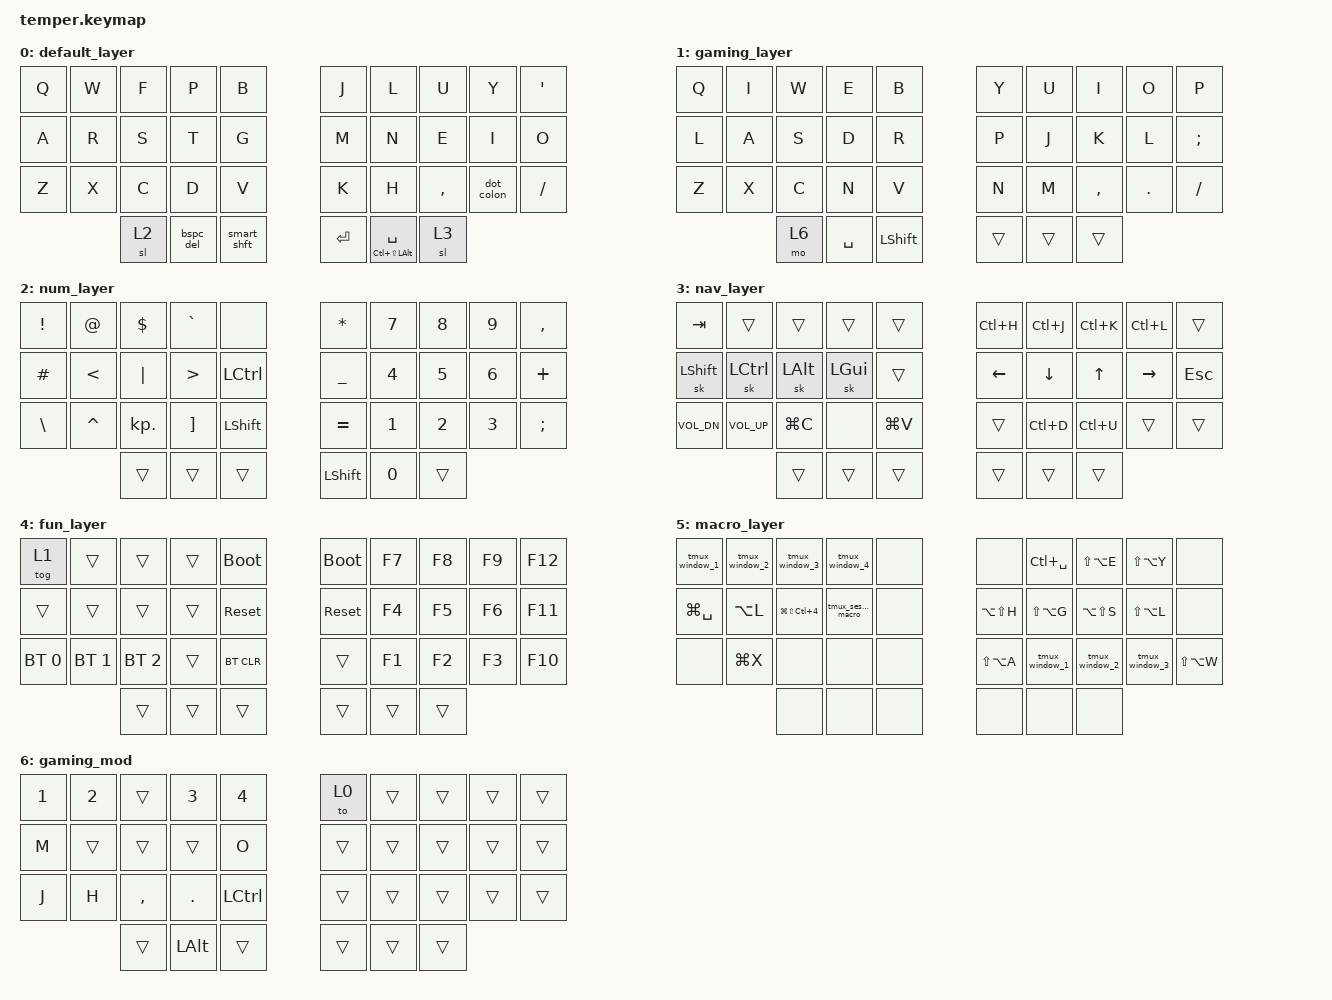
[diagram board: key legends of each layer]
/*
 * Copyright (c) 2020 The ZMK Contributors
 *
 * SPDX-License-Identifier: MIT
 */

#include <behaviors.dtsi>
#include <dt-bindings/zmk/bt.h>
#include <dt-bindings/zmk/keys.h>

#define DEFAULT 0
#define QWERTY 1
#define NUM 2
#define NAV 3
#define FUN 4

&sk { quick-release; };

/ {
    conditional_layers {
        compatible = "zmk,conditional-layers";

        tri_layer {
            if-layers = <2 3>;
            then-layer = <4>;
        };
    };

    behaviors {
        bspc_del: backspace_delete {
            compatible = "zmk,behavior-mod-morph";
            label = "BACKSPACE_DELETE";
            #binding-cells = <0>;
            bindings = <&kp BACKSPACE>, <&kp DELETE>;

            mods = <(MOD_LSFT|MOD_RSFT)>;
            keep-mods = <(MOD_RSFT)>;
        };

        smart_shft: smart_shift {
            compatible = "zmk,behavior-mod-morph";
            label = "SMART_SHIFT";
            #binding-cells = <0>;
            bindings = <&sk LSHFT>, <&caps_word>;

            mods = <(MOD_LSFT)>;
        };

        comma_semi: comma_semi {
            compatible = "zmk,behavior-mod-morph";
            label = "COMMA_SEMI";
            #binding-cells = <0>;
            bindings = <&kp COMMA>, <&kp SEMI>;

            mods = <(MOD_LSFT)>;
        };

        dot_colon: dot_colon {
            compatible = "zmk,behavior-mod-morph";
            label = "DOT_COLON";
            #binding-cells = <0>;
            bindings = <&kp DOT>, <&kp COLON>;

            mods = <(MOD_LSFT)>;
        };

        qmrk_excl: qmrk_excl {
            compatible = "zmk,behavior-mod-morph";
            label = "QUESTION_EXCLAMATION";
            #binding-cells = <0>;
            bindings = <&kp QMARK>, <&kp EXCL>;

            mods = <(MOD_LSFT)>;
        };

        slh_morph: slh_morph {
            compatible = "zmk,behavior-mod-morph";
            label = "SLASH_MORPH";
            #binding-cells = <0>;
            bindings = <&kp FSLH>, <&kp BSLH>;

            mods = <(MOD_LSFT)>;
        };

        amps_morph: amps_morph {
            compatible = "zmk,behavior-mod-morph";
            label = "AMPERSAND_MORPH";
            #binding-cells = <0>;
            bindings = <&kp AMPS>, <&kp PIPE>;

            mods = <(MOD_LSFT)>;
        };

        mt_balanced: mt_balanced {
            compatible = "zmk,behavior-hold-tap";
            label = "MT_BALANCED";
            bindings = <&kp>, <&kp>;

            #binding-cells = <2>;
            tapping-term-ms = <200>;
            flavor = "balanced";
        };
    };

    combos {
        compatible = "zmk,combos";

        combotab {
            bindings = <&kp TAB>;
            key-positions = <1 2>;
            layers = <0>;
        };

        comboesc {
            bindings = <&kp ESC>;
            key-positions = <7 8>;
            layers = <0>;
        };

        combo_yabai_lyr {
            bindings = <&sl 5>;
            key-positions = <27 28>;
            layers = <0>;
        };

        combo_arrow {
            bindings = <&macro_arrow>;
            key-positions = <13 12>;
            layers = <0>;
            require-prior-idle-ms = <130>;
        };

        combo_parenthesis {
            bindings = <&kp LEFT_PARENTHESIS>;
            key-positions = <11 13>;
            layers = <0>;
            require-prior-idle-ms = <100>;
        };

        combo_braces {
            bindings = <&kp LEFT_BRACE>;
            key-positions = <1 3>;
            layers = <0>;
            require-prior-idle-ms = <50>;
        };

        combo_bracket {
            bindings = <&kp LEFT_BRACKET>;
            key-positions = <21 23>;
            layers = <0>;
            require-prior-idle-ms = <100>;
        };

        equals_combo {
            bindings = <&kp KP_EQUAL>;
            key-positions = <19 18>;
            layers = <0>;
            require-prior-idle-ms = <100>;
            timeout-ms = <30>;
        };

        combo_del_word {
            bindings = <&kp LC(BACKSPACE)>;
            key-positions = <17 18>;
            require-prior-idle-ms = <100>;
            layers = <0>;
        };

        combo_quote {
            bindings = <&kp DOUBLE_QUOTES>;
            key-positions = <2 3>;
            layers = <0>;
        };

        combo_close_parenthesis {
            bindings = <&kp RIGHT_PARENTHESIS>;
            key-positions = <18 16>;
            layers = <0>;
            require-prior-idle-ms = <150>;
            timeout-ms = <25>;
        };

        combo_fat_arrow {
            bindings = <&macro_fat_arrow>;
            key-positions = <17 16>;
            layers = <0>;
            require-prior-idle-ms = <150>;
            timeout-ms = <25>;
        };

        combo_close_braces {
            bindings = <&kp RIGHT_BRACE>;
            key-positions = <6 8>;
            layers = <0>;
        };

        comboMinus {
            bindings = <&kp MINUS>;
            key-positions = <29 28>;
            layers = <0>;
        };

        combo_close_bracket {
            bindings = <&kp RIGHT_BRACKET>;
            key-positions = <26 28>;
            require-prior-idle-ms = <150>;
            layers = <0>;
        };

        combo_j {
            bindings = <&kp J>;
            key-positions = <6 7>;
            timeout-ms = <25>;
            layers = <0>;
        };

        combo_k {
            bindings = <&kp K>;
            key-positions = <26 27>;
            timeout-ms = <25>;
            layers = <0>;
        };

        escape_game {
            bindings = <&kp ESCAPE>;
            key-positions = <1 0>;
            layers = <1>;
        };

        enter_game {
            bindings = <&kp ENTER>;
            key-positions = <3 4>;
            layers = <1>;
        };
    };

    macros {
        tmux_window_1: tmux_window_1 {
            compatible = "zmk,behavior-macro";
            #binding-cells = <0>;
            bindings =
                <&macro_press>,
                <&kp LCTRL>,
                <&macro_tap>,
                <&kp A>,
                <&macro_release>,
                <&kp LCTRL>,
                <&macro_tap>,
                <&kp N1>;

            label = "TMUX_WINDOW_1";
        };

        tmux_window_2: tmux_window_2 {
            compatible = "zmk,behavior-macro";
            #binding-cells = <0>;
            bindings =
                <&macro_press>,
                <&kp LCTRL>,
                <&macro_tap>,
                <&kp A>,
                <&macro_release>,
                <&kp LCTRL>,
                <&macro_tap>,
                <&kp N2>;

            label = "TMUX_WINDOW_2";
        };

        tmux_window_3: tmux_window_3 {
            compatible = "zmk,behavior-macro";
            #binding-cells = <0>;
            bindings =
                <&macro_press>,
                <&kp LCTRL>,
                <&macro_tap>,
                <&kp A>,
                <&macro_release>,
                <&kp LCTRL>,
                <&macro_tap>,
                <&kp N3>;

            label = "TMUX_WINDOW_3";
        };

        tmux_window_4: tmux_window_4 {
            compatible = "zmk,behavior-macro";
            #binding-cells = <0>;
            bindings =
                <&macro_press>,
                <&kp LCTRL>,
                <&macro_tap>,
                <&kp A>,
                <&macro_release>,
                <&kp LCTRL>,
                <&macro_tap>,
                <&kp N4>;

            label = "TMUX_WINDOW_4";
        };

        macro_end_tag: macro_end_tag {
            compatible = "zmk,behavior-macro";
            #binding-cells = <0>;
            bindings = <&macro_tap>, <&kp LESS_THAN &kp SLASH>;

            label = "MACRO_END_TAG";
        };

        macro_arrow: macro_arrow {
            compatible = "zmk,behavior-macro";
            #binding-cells = <0>;
            bindings = <&macro_tap>, <&kp MINUS &kp GREATER_THAN>;

            label = "MACRO_ARROW";
        };

        macro_fat_arrow: macro_fat_arrow {
            compatible = "zmk,behavior-macro";
            #binding-cells = <0>;
            bindings = <&macro_tap>, <&kp KP_EQUAL &kp GREATER_THAN>;

            label = "MACRO_FAT_ARROW";
        };

        tmux_session_macro: tmux_session_macro {
            compatible = "zmk,behavior-macro";
            #binding-cells = <0>;
            bindings = <&kp LC(A) &kp LS(O)>;
            label = "TMUX_SESSION_MACRO";
        };
    };

    keymap {
        compatible = "zmk,keymap";

        default_layer {
            bindings = <
&kp Q  &kp W  &kp F  &kp P      &kp B        &kp J      &kp L                            &kp U      &kp Y       &kp APOS
&kp A  &kp R  &kp S  &kp T      &kp G        &kp M      &kp N                            &kp E      &kp I       &kp O
&kp Z  &kp X  &kp C  &kp D      &kp V        &kp K      &kp H                            &kp COMMA  &dot_colon  &kp SLASH
              &sl 2  &bspc_del  &smart_shft  &kp ENTER  &mt_balanced LC(LS(LALT)) SPACE  &sl 3
            >;
        };

        gaming_layer {
            bindings = <
&kp Q  &kp I  &kp W  &kp E      &kp B       &kp Y   &kp U   &kp I      &kp O    &kp P
&kp L  &kp A  &kp S  &kp D      &kp R       &kp P   &kp J   &kp K      &kp L    &kp SEMI
&kp Z  &kp X  &kp C  &kp N      &kp V       &kp N   &kp M   &kp COMMA  &kp DOT  &kp FSLH
              &mo 6  &kp SPACE  &kp LSHIFT  &trans  &trans  &trans
            >;
        };

        num_layer {
            bindings = <
&kp EXCLAMATION  &kp AT         &kp DOLLAR  &kp GRAVE         &none           &kp STAR        &kp N7  &kp N8  &kp N9  &kp COMMA
&kp HASH         &kp LESS_THAN  &kp PIPE    &kp GREATER_THAN  &kp LCTRL       &kp UNDER       &kp N4  &kp N5  &kp N6  &kp PLUS
&kp BACKSLASH    &kp CARET      &kp KP_DOT  &kp RBKT          &kp LEFT_SHIFT  &kp EQUAL       &kp N1  &kp N2  &kp N3  &kp SEMI
                                &trans      &trans            &trans          &kp LEFT_SHIFT  &kp N0  &trans
            >;
        };

        nav_layer {
            bindings = <
&kp TAB         &trans           &trans     &trans    &trans     &kp LC(H)  &kp LC(J)  &kp LC(K)  &kp LC(L)  &trans
&sk LEFT_SHIFT  &sk LCTRL        &sk LALT   &sk LGUI  &trans     &kp LEFT   &kp DOWN   &kp UP     &kp RIGHT  &kp ESC
&kp C_VOL_DN    &kp C_VOLUME_UP  &kp LG(C)  &none     &kp LG(V)  &trans     &kp LC(D)  &kp LC(U)  &trans     &trans
                                 &trans     &trans    &trans     &trans     &trans     &trans
            >;
        };

        fun_layer {
            bindings = <
&tog 1        &trans        &trans        &trans  &bootloader  &bootloader  &kp F7  &kp F8  &kp F9  &kp F12
&trans        &trans        &trans        &trans  &sys_reset   &sys_reset   &kp F4  &kp F5  &kp F6  &kp F11
&bt BT_SEL 0  &bt BT_SEL 1  &bt BT_SEL 2  &trans  &bt BT_CLR   &trans       &kp F1  &kp F2  &kp F3  &kp F10
                            &trans        &trans  &trans       &trans       &trans  &trans
            >;
        };

        macro_layer {
            bindings = <
&tmux_window_1  &tmux_window_2  &tmux_window_3      &tmux_window_4       &none  &none          &kp LC(SPACE)   &kp LS(LA(E))   &kp LS(LA(Y))   &none
&kp LG(SPACE)   &kp LA(L)       &kp LG(LS(LC(N4)))  &tmux_session_macro  &none  &kp LA(LS(H))  &kp LS(LA(G))   &kp LA(LS(S))   &kp LS(LA(L))   &none
&none           &kp LG(X)       &none               &none                &none  &kp LS(LA(A))  &tmux_window_1  &tmux_window_2  &tmux_window_3  &kp LS(LA(W))
                                &none               &none                &none  &none          &none           &none
            >;
        };

        gaming_mod {
            bindings = <
&kp NUMBER_1  &kp NUMBER_2  &trans     &kp NUMBER_3  &kp NUMBER_4  &to 0   &trans  &trans  &trans  &trans
&kp M         &trans        &trans     &trans        &kp O         &trans  &trans  &trans  &trans  &trans
&kp J         &kp H         &kp COMMA  &kp PERIOD    &kp LCTRL     &trans  &trans  &trans  &trans  &trans
                            &trans     &kp LEFT_ALT  &trans        &trans  &trans  &trans
            >;
        };
    };
};
